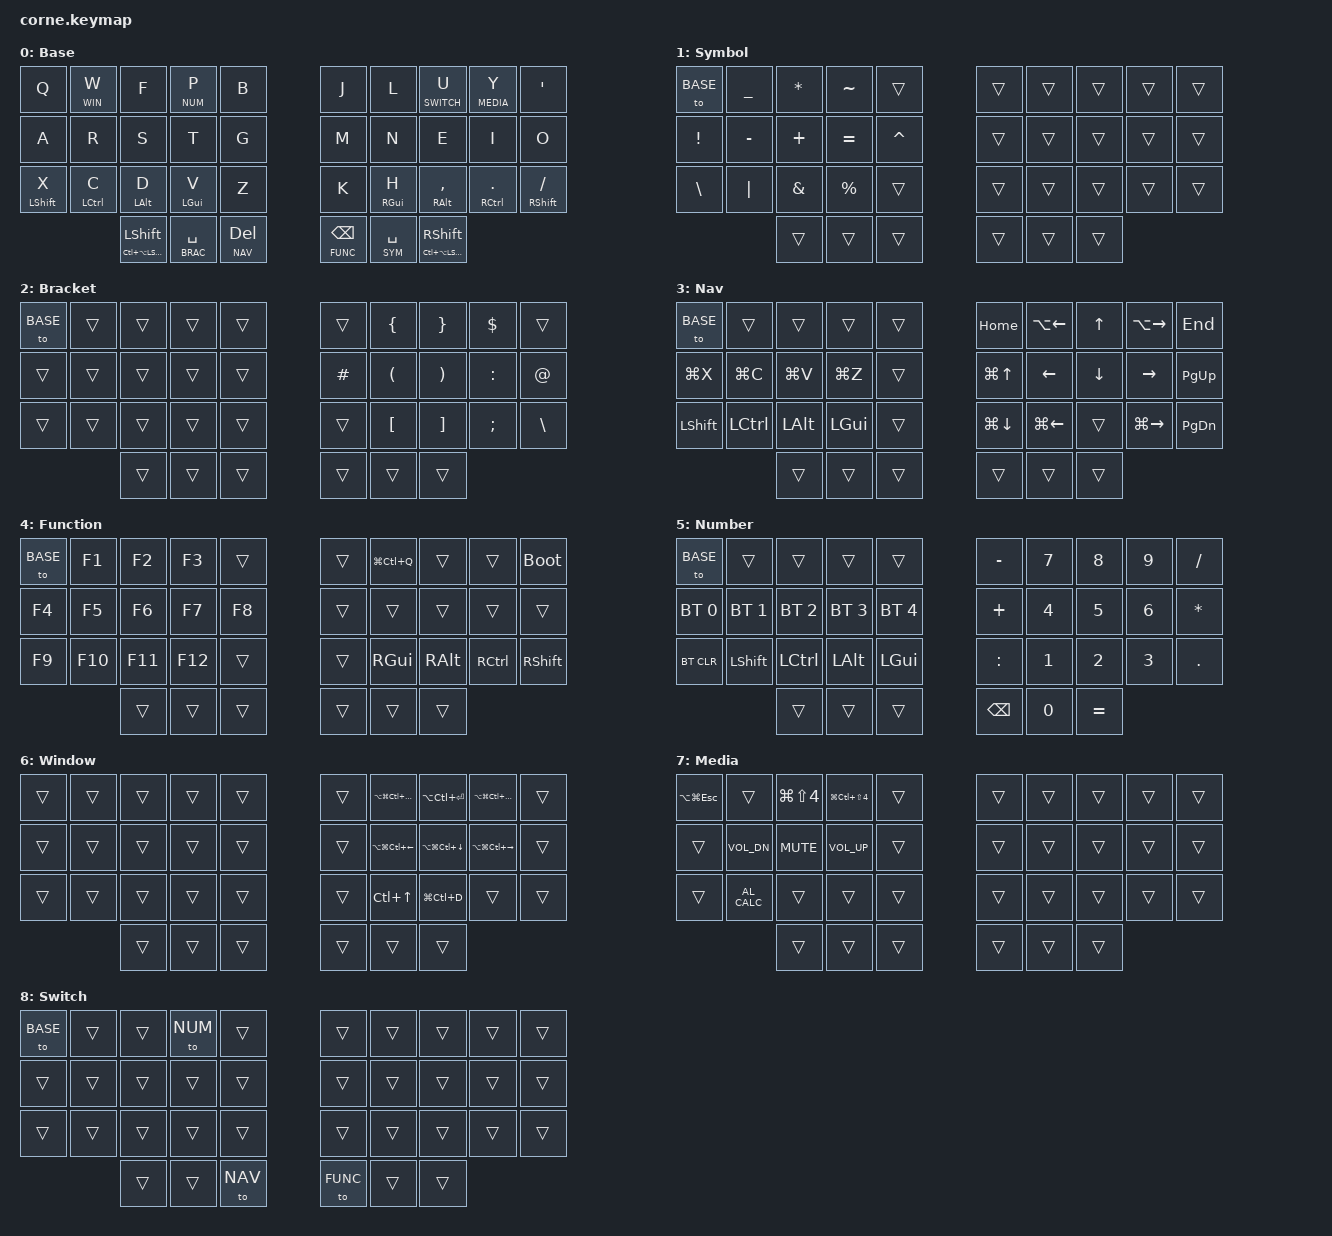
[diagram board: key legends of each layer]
#include <behaviors.dtsi>
#include <dt-bindings/zmk/keys.h>
#include <dt-bindings/zmk/bt.h>

#define BASE 0
#define SYM  1
#define BRAC 2
#define NAV  3
#define FUNC 4
#define NUM  5
#define WIN  6
#define MEDIA 7
#define SWITCH 8

/ {
    chosen {
        zmk,physical-layout = &foostan_corne_5col_layout;
    };

    behaviors {
        // Custom sticky key with quick release
        skq: sticky_key_quick_release {
            compatible = "zmk,behavior-sticky-key";
            #binding-cells = <1>;
            bindings = <&kp>;
            release-after-ms = <1500>;
            quick-release;
            ignore-modifiers;
        };

        // Bottom row mods without quick-tap (most reliable for shift)
        bml_no_qt: bottom_mods_left_no_quicktap {
            compatible = "zmk,behavior-hold-tap";
            #binding-cells = <2>;
            tapping-term-ms = <180>;
            quick-tap-ms = <0>;
            require-prior-idle-ms = <150>;
            flavor = "balanced";
            bindings = <&kp>, <&kp>;
            hold-trigger-key-positions = <5 6 7 8 9 15 16 17 18 19 25 26 27 28 29 33 34 35>;
            hold-trigger-on-release;
        };

        bmr_no_qt: bottom_mods_right_no_quicktap {
            compatible = "zmk,behavior-hold-tap";
            #binding-cells = <2>;
            tapping-term-ms = <180>;
            quick-tap-ms = <0>;
            require-prior-idle-ms = <150>;
            flavor = "balanced";
            bindings = <&kp>, <&kp>;
            hold-trigger-key-positions = <0 1 2 3 4 10 11 12 13 14 20 21 22 23 24 30 31 32>;
            hold-trigger-on-release;
        };

        // Bottom row mods with quick-tap (for keys you might double-tap)
        bml: bottom_mods_left {
            compatible = "zmk,behavior-hold-tap";
            #binding-cells = <2>;
            tapping-term-ms = <180>;
            quick-tap-ms = <125>;
            require-prior-idle-ms = <150>;
            flavor = "balanced";
            bindings = <&kp>, <&kp>;
            hold-trigger-key-positions = <5 6 7 8 9 15 16 17 18 19 25 26 27 28 29 33 34 35>;
        };

        bmr: bottom_mods_right {
            compatible = "zmk,behavior-hold-tap";
            #binding-cells = <2>;
            tapping-term-ms = <180>;
            quick-tap-ms = <125>;
            require-prior-idle-ms = <150>;
            flavor = "balanced";
            bindings = <&kp>, <&kp>;
            hold-trigger-key-positions = <0 1 2 3 4 10 11 12 13 14 20 21 22 23 24 30 31 32>;
        };

        osm_meh: osm_meh_hold_tap {
            compatible = "zmk,behavior-hold-tap";
            #binding-cells = <2>;
            tapping-term-ms = <200>;
            quick-tap-ms = <0>;
            flavor = "tap-preferred";
            bindings = <&kp>, <&skq>;
        };
    };

    combos {
        compatible = "zmk,combos";
        
        // R+S+T = ESC
        combo_esc {
            timeout-ms = <50>;
            key-positions = <11 12 13>;
            bindings = <&kp ESC>;
            layers = <BASE>;
        };
        
        // N+E+I = Enter
        combo_enter {
            timeout-ms = <50>;
            key-positions = <16 17 18>;
            bindings = <&kp ENTER>;
            layers = <BASE>;
        };
        
        // F+P = Tab
        combo_tab {
            timeout-ms = <50>;
            key-positions = <2 3>;
            bindings = <&kp TAB>;
            layers = <BASE>;
        };
        
        // L+U = Grave/Backtick
        combo_grave {
            timeout-ms = <50>;
            key-positions = <6 7>;
            bindings = <&kp GRAVE>;
            layers = <BASE>;
        };
        
        // T+G = OSM(Brackets)
        combo_brac {
            timeout-ms = <50>;
            key-positions = <13 14>;
            bindings = <&sl BRAC>;
            layers = <BASE>;
        };
        
        // M+N = OSM(Symbols)
        combo_sym {
            timeout-ms = <50>;
            key-positions = <15 16>;
            bindings = <&sl SYM>;
            layers = <BASE>;
        };

        // W+F+P = Caps Word
        combo_capsword {
            timeout-ms = <50>;
            key-positions = <1 2 3>;
            bindings = <&caps_word>;
            layers = <BASE>;
        };
        
        // L+U+Y = Caps Lock
        combo_capslock {
            timeout-ms = <50>;
            key-positions = <6 7 8>;
            bindings = <&kp CAPS>;
            layers = <BASE>;
        };
};

    keymap {
        compatible = "zmk,keymap";

        base_layer {
// -----------------------------------------------------------------------------------------
// |  Q  |  W  |  F  |  P  |  B  |     |  J  |  L   |  U   |  Y   |  '  |
// |  A  |  R  |  S  |  T  |  G  |     |  M  |  N   |  E   |  I   |  O  | 
// |  X  |  C  |  D  |  V  |  Z  |     |  K  |  H   |  ,   |  .   |  /  |
//             |OSFT |SPC|NAV/DEL|     |BSPC |SPC/FN|OSFT |
            display-name = "Base";
            bindings = <
   &kp Q       &lt WIN W    &kp F        &lt NUM P    &kp B            &kp J        &kp L        &lt SWITCH U        &lt MEDIA Y  &kp SQT
   &kp A       &kp R        &kp S        &kp T        &kp G            &kp M        &kp N        &kp E        &kp I        &kp O
   &bml_no_qt LSHFT X &bml LCTRL C &bml LALT D &bml_no_qt LGUI V  &kp Z            &kp K        &bmr_no_qt RGUI H  &bmr_no_qt RALT COMMA &bmr RCTRL DOT &bmr RSHFT SLASH
                            &osm_meh LC(LA(LSHFT)) LSHFT  &lt BRAC SPACE &lt NAV DEL      &lt FUNC BSPC &lt SYM SPACE &osm_meh LC(LA(LSHFT)) RSHFT
            >;
        };

        symbol_layer {
// -----------------------------------------------------------------------------------------
// | RST |  _  |  *  |  ~  |     |     |     |     |     |     |     |
// |  !  |  -  |  +  |  =  |  ^  |     |     |     |     |     |     |
// |  \  |  |  |  &  |  %  |     |     |     |     |     |     |     |
//             |     |     |     |     |     |     |
            display-name = "Symbol";
            bindings = <
   &to BASE    &kp UNDER    &kp ASTRK    &kp TILDE    &trans           &trans       &trans       &trans       &trans       &trans
   &kp EXCL    &kp MINUS    &kp PLUS     &kp EQUAL    &kp CARET        &trans       &trans       &trans       &trans       &trans
   &kp BSLH    &kp PIPE     &kp AMPS     &kp PRCNT    &trans           &trans       &trans       &trans       &trans       &trans
                            &trans       &trans       &trans           &trans       &trans       &trans
            >;
        };

        bracket_layer {
// -----------------------------------------------------------------------------------------
// | RST |     |     |     |     |     |     |  {  |  }  |  $  |     |
// |     |     |     |     |     |     |  #  |  (  |  )  |  :  |  @  |
// |     |     |     |     |     |     |     |  [  |  ]  |  ;  |  \  |
//             |     |     |     |     |     |     |
            display-name = "Bracket";
            bindings = <
   &to BASE    &trans       &trans       &trans       &trans           &trans       &kp LBRC     &kp RBRC     &kp DLLR     &trans
   &trans      &trans       &trans       &trans       &trans           &kp HASH     &kp LPAR     &kp RPAR     &kp COLON    &kp AT
   &trans      &trans       &trans       &trans       &trans           &trans       &kp LBKT     &kp RBKT     &kp SEMI     &kp BSLH
                            &trans       &trans       &trans           &trans       &trans       &trans
            >;
        };

        nav_layer {
// -----------------------------------------------------------------------------------------
// | RST |     |     |     |     |     | HOME| WBCK|  UP | WFWD| END |
// | CUT | CPY | PST | UND |     |     | TOP | LEFT| DOWN|RIGHT| PGUP|
// |LSHFT|LCTRL|LALT | LGUI|     |     | BTM | HOME|     | END | PGDN|
//             |     |     |     |     |     | TAB |
            display-name = "Nav";
            bindings = <
   &to BASE    &trans       &trans       &trans       &trans           &kp HOME     &kp LA(LEFT) &kp UP       &kp LA(RIGHT) &kp END
   &kp LG(X)   &kp LG(C)    &kp LG(V)    &kp LG(Z)    &trans           &kp LG(UP)   &kp LEFT     &kp DOWN     &kp RIGHT    &kp PG_UP
   &kp LSHFT   &kp LCTRL    &kp LALT     &kp LGUI     &trans           &kp LG(DOWN) &kp LG(LEFT) &trans       &kp LG(RIGHT) &kp PG_DN
                            &trans       &trans       &trans           &trans       &trans       &trans
            >;
        };

        function_layer {
// -----------------------------------------------------------------------------------------
// | RST | F1  | F2  | F3  |     |     |     |LOCK |     |     | BOOT|
// |     | F4  | F5  | F6  | F7  | F8  |     |     |     |     |     |
// |     | F9  | F10 | F11 | F12 |     |     |RGUI |RALT |RCTRL|RSHFT|
//             |     |     |     |     |     |     |
            display-name = "Function";
            bindings = <
   &to BASE    &kp F1       &kp F2       &kp F3       &trans           &trans       &kp LG(LC(Q)) &trans      &trans       &bootloader
   &kp F4      &kp F5       &kp F6       &kp F7       &kp F8           &trans       &trans        &trans      &trans       &trans
   &kp F9      &kp F10      &kp F11      &kp F12      &trans           &trans       &kp RGUI     &kp RALT     &kp RCTRL    &kp RSHFT
                            &trans       &trans       &trans           &trans       &trans       &trans
            >;
        };

        number_layer {
// -----------------------------------------------------------------------------------------
// | RST |     |     |     |     |     |  -  |  7  |  8  |  9  |  /  |
// | BT1 | BT2 | BT3 | BT4 | BT5 |     |  +  |  4  |  5  |  6  |  *  |
// |BTCLR|LSHFT|LCTRL|LALT | LGUI|     |  :  |  1  |  2  |  3  |  .  |
//             |     |     |     |     |BSPC |  0  |
            display-name = "Number";
            bindings = <
   &to BASE    &trans       &trans       &trans       &trans           &kp MINUS    &kp N7       &kp N8       &kp N9       &kp SLASH
   &bt BT_SEL 0 &bt BT_SEL 1 &bt BT_SEL 2 &bt BT_SEL 3 &bt BT_SEL 4    &kp PLUS     &kp N4       &kp N5       &kp N6       &kp ASTRK
   &bt BT_CLR  &kp LSHFT    &kp LCTRL    &kp LALT     &kp LGUI         &kp COLON    &kp N1       &kp N2       &kp N3       &kp DOT
                            &trans       &trans       &trans           &kp BSPC     &kp N0       &kp EQUAL
            >;
        };

        window_layer {
// -----------------------------------------------------------------------------------------
// |     |     |     |     |     |     |     |MVLFT|ENTER|MVRGT|     |
// |     |     |     |     |     |     |     | LFT | DOWN| RGT |     |
// |     |     |     |     |     |     |     |MSSUP| LOCK|     |     |
//             |     |     |     |     |     |     |
            display-name = "Window";
            bindings = <
   &trans      &trans       &trans       &trans       &trans           &trans       &kp LA(LG(LC(LS(LEFT)))) &kp LA(LC(ENTER)) &kp LA(LG(LC(LS(RIGHT)))) &trans
   &trans      &trans       &trans       &trans       &trans           &trans       &kp LA(LG(LC(LEFT))) &kp LA(LG(LC(DOWN))) &kp LA(LG(LC(RIGHT))) &trans
   &trans      &trans       &trans       &trans       &trans           &trans       &kp LC(UP)   &kp LG(LC(D)) &trans       &trans
                            &trans       &trans       &trans           &trans       &trans       &trans
            >;
        };

        media_layer {
// -----------------------------------------------------------------------------------------
// |FORCE|    |SCRNF |SCRNC|     |     |     |     |     |     |     |
// |     | VOL-| MUTE| VOL+|     |     |     |     |     |     |     |
// |     | CALC|     |     |     |     |     |     |     |     |     |
//             |     |     |     |     |     |     |
            display-name = "Media";
            bindings = <
   &kp LA(LG(ESC)) &trans    &kp LG(LS(N4)) &kp LG(LC(LS(N4)))  &trans       &trans       &trans       &trans       &trans       &trans
   &trans       &kp C_VOL_DN &kp C_MUTE   &kp C_VOL_UP          &trans       &trans       &trans       &trans       &trans       &trans
   &trans       &kp C_AL_CALC &trans      &trans                &trans       &trans       &trans       &trans       &trans       &trans
                            &trans       &trans       &trans                &trans       &trans       &trans
            >;
        };

        switch_layer {
// -----------------------------------------------------------------------------------------
// |BASE |     |     | NUM |     |     |     |     |     |     |     |
// |     |     |     |     |     |     |     |     |     |     |     |
// |     |     |     |     |     |     |     |     |     |     |     |
//             |     |     | NAV |     | FUNC|     |     |
            display-name = "Switch";
            bindings = <
   &to BASE    &trans       &trans       &to NUM      &trans           &trans       &trans       &trans       &trans       &trans
   &trans      &trans       &trans       &trans       &trans           &trans       &trans       &trans       &trans       &trans
   &trans      &trans       &trans       &trans       &trans           &trans       &trans       &trans       &trans       &trans
                            &trans       &trans       &to NAV          &to FUNC     &trans       &trans
            >;
        };
    };
};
